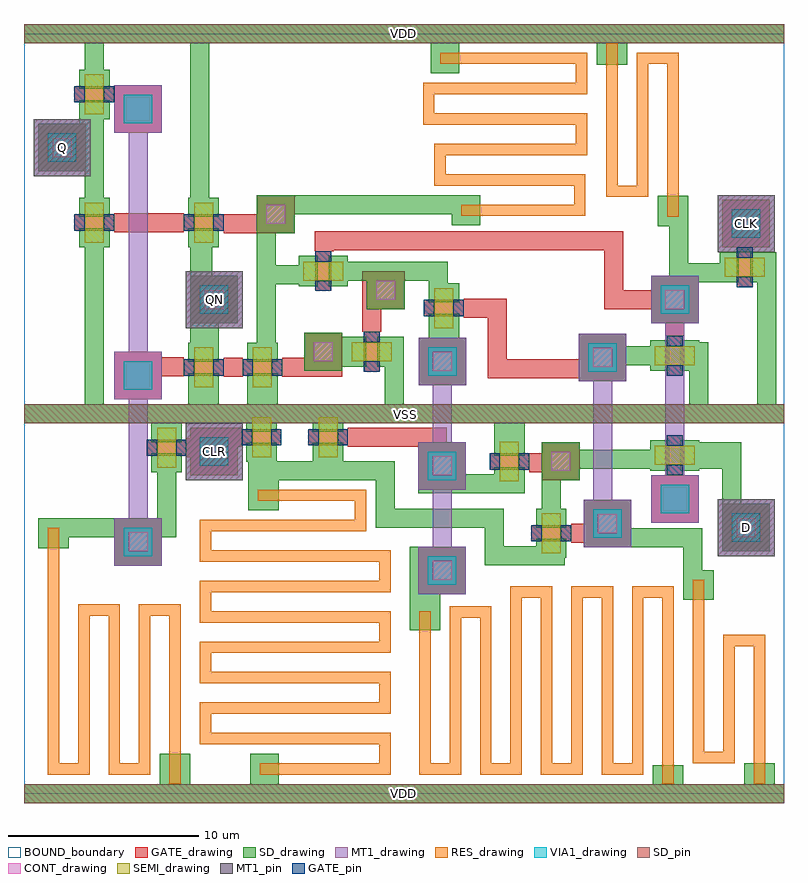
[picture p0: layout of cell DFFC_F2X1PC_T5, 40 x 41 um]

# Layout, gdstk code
from math import pi, radians
import gdstk
lib = gdstk.Library(unit=1e-6, precision=1e-09)
def R(c, l, rs):  # rectangles x0, y0, x1, y1
    for r in rs: c.add(gdstk.rectangle(r[:2], r[2:], *l))
def A(c, l, x, y, w, h, nx, ny, dx, dy):  # array of equal rectangles
    R(c, l, [(x+i*dx, y+j*dy, x+i*dx+w, y+j*dy+h) for i in range(nx) for j in range(ny)])
def P(c, l, *ps):  # polygons
    for p in ps: c.add(gdstk.Polygon(p, *l))
RES_drawing = (1, 0)
SEMI_drawing = (3, 0)
SD_drawing = (10, 0)
SD_pin = (10, 3)
GATE_drawing = (11, 0)
GATE_pin = (11, 3)
MT1_drawing = (20, 0)
MT1_pin = (20, 3)
CONT_drawing = (30, 0)
VIA1_drawing = (41, 0)
BOUND_boundary = (150, 5)

nch_cdns_772544865100 = lib.new_cell('nch_CDNS_772544865100')
R(nch_cdns_772544865100, SEMI_drawing, [(-1.05,-0.5,1.05,0.5)])
R(nch_cdns_772544865100, SD_drawing, [(-1.3,-0.8,-0.3,0.8), (0.3,-0.8,1.3,0.8)])
R(nch_cdns_772544865100, GATE_drawing, [(-0.425,-1.05,0.425,1.05)])
R(nch_cdns_772544865100, GATE_pin, [(-0.425,-1.05,0.425,-0.5), (-0.425,0.5,0.425,1.05)])

sd_gate_cdns_77254486510 = lib.new_cell('SD_GATE_CDNS_772544865100')
R(sd_gate_cdns_77254486510, SD_drawing, [(-1.25,-1.25,1.25,1.25)])
R(sd_gate_cdns_77254486510, GATE_drawing, [(-1.25,-1.25,1.25,1.25)])
R(sd_gate_cdns_77254486510, CONT_drawing, [(-0.5,-0.5,0.5,0.5)])

gate_mt1_cdns_7725448651 = lib.new_cell('GATE_MT1_CDNS_772544865101')
R(gate_mt1_cdns_7725448651, GATE_drawing, [(-1.25,-1.25,1.25,1.25)])
R(gate_mt1_cdns_7725448651, MT1_drawing, [(-1.5,-1.5,1.5,1.5)])
R(gate_mt1_cdns_7725448651, VIA1_drawing, [(-0.75,-0.75,0.75,0.75)])

c_gate_mt1_cdns_7725448651 = lib.new_cell('GATE_MT1_CDNS_772544865102')
R(c_gate_mt1_cdns_7725448651, GATE_drawing, [(-1.25,-1.25,1.25,1.25)])
R(c_gate_mt1_cdns_7725448651, MT1_drawing, [(-1.25,-1.25,1.25,1.25)])
R(c_gate_mt1_cdns_7725448651, VIA1_drawing, [(-0.75,-0.75,0.75,0.75)])

c_sd_gate_cdns_77254486510 = lib.new_cell('SD_GATE_CDNS_772544865103')
R(c_sd_gate_cdns_77254486510, SD_drawing, [(-1,-1,1,1)])
R(c_sd_gate_cdns_77254486510, GATE_drawing, [(-1,-1,1,1)])
R(c_sd_gate_cdns_77254486510, CONT_drawing, [(-0.5,-0.5,0.5,0.5)])

dffc_f2x1pc_t5 = lib.new_cell('DFFC_F2X1PC_T5')
A(dffc_f2x1pc_t5, SD_drawing, 0, -0.5, 40, 1, 1, 3, 0, 20)
R(dffc_f2x1pc_t5, SD_drawing, [(33.1,0,34.7,1.5), (37.9,0,39.5,1.6), (7.15,0.5,8.75,2.1), (11.9,0.5,13.4,2.1), (20.3,8.6,21.9,13), (34.7,10.2,36.3,11.75), (0.75,12.9,2.35,14.5), (27.25,14.75,28.25,17.3), (11.8,14.9,13.4,16.5), (11.8,16.5,13.2,17.45), (27.25,17.1,32.95,18.1), (24.75,18.675,26.35,19.5), (3.2,20.5,4.2,28.75), (8.65,20.5,10.25,21.125), (11.75,20.5,13.35,21.125), (21.3,23.9,22.9,24.35), (33.35,29.85,34.95,31.45), (22.5,29.9,24,31.5), (8.75,31.35,9.75,39.5), (21.4,37.9,22.9,39.5), (3.2,38.1,4.2,39.5), (30.15,38.35,31.75,39.95)])
P(dffc_f2x1pc_t5, SD_drawing, [(37.75,15.25),(37.75,18.5),(35.55,18.5),(35.55,17.1),(36.75,17.1),(36.75,15.25)],
  [(28.45,13.025),(25.25,13.025),(25.25,15),(19.5,15),(19.5,17.5),(11.8,17.5),(11.8,16.5),(18.5,16.5),(18.5,14),(24.25,14),(24.25,12.025),(28.45,12.025)],
  [(4.2,35.5),(2.9,35.5),(2.9,35.25),(3.2,35.25),(3.2,31.35),(4.2,31.35)],
  [(10.25,24.75),(9.9,24.75),(9.9,28.75),(8.75,28.75),(8.75,23.725),(10.25,23.725)],
  [(26.35,16.175),(24.75,16.175),(24.75,16.8),(20.75,16.8),(20.75,15.8),(26.35,15.8)],
  [(36,23.75),(35.55,23.75),(35.55,22.35),(35,22.35),(35,20.25),(36,20.25)])
A(dffc_f2x1pc_t5, SD_pin, 0, -0.5, 40, 1, 1, 3, 0, 20)
R(dffc_f2x1pc_t5, GATE_drawing, [(8.65,17.7,8.75,18.7), (11.25,18.25,11.45,19.25)])
P(dffc_f2x1pc_t5, GATE_drawing, [(22.25,19.25),(17.15,19.25),(17.15,18.25),(21.25,18.25),(21.25,17.25),(22.25,17.25)],
  [(38.475,28.85),(37.475,28.85),(37.475,28.75),(37.55,28.75),(37.55,28.7),(38.3,28.7),(38.3,28.75),(38.475,28.75)],
  [(8.3,22.95),(8.3,21.95),(8.4,21.95),(8.4,22.05),(8.45,22.05),(8.45,22.8),(8.4,22.8),(8.4,22.95)],
  [(33.725,16.65),(34.725,16.65),(34.725,16.75),(34.625,16.75),(34.625,16.8),(33.875,16.8),(33.875,16.75),(33.725,16.75)],
  [(8.65,18.7),(8.65,17.7),(8.55,17.7),(8.55,17.825),(8.5,17.825),(8.5,18.575),(8.55,18.575),(8.55,18.7)],
  [(10.6,22.925),(10.6,21.925),(10.5,21.925),(10.5,22.05),(10.45,22.05),(10.45,22.8),(10.5,22.8),(10.5,22.925)],
  [(8.3,30.55),(8.3,29.55),(8.4,29.55),(8.4,29.675),(8.45,29.675),(8.45,30.425),(8.4,30.425),(8.4,30.55)],
  [(17.15,19.25),(17.15,18.25),(17.05,18.25),(17.05,18.375),(17,18.375),(17,19.125),(17.05,19.125),(17.05,19.25)],
  [(11.35,19.25),(11.35,18.25),(11.45,18.25),(11.45,18.375),(11.5,18.375),(11.5,19.125),(11.45,19.125),(11.45,19.25)],
  [(16.3,28.65),(15.3,28.65),(15.3,28.55),(15.375,28.55),(15.375,28.5),(16.125,28.5),(16.125,28.55),(16.3,28.55)],
  [(11.4,22.925),(11.4,21.925),(11.5,21.925),(11.5,22.05),(11.55,22.05),(11.55,22.8),(11.5,22.8),(11.5,22.925)],
  [(26.7,17.9),(26.7,16.9),(26.6,16.9),(26.6,17.15),(26.55,17.15),(26.55,17.9)],
  [(18.8,24.4),(17.8,24.4),(17.8,24.3),(17.925,24.3),(17.925,24.25),(18.675,24.25),(18.675,24.3),(18.8,24.3)],
  [(23.25,25.05),(23.25,26.05),(23.15,26.05),(23.15,25.925),(23.1,25.925),(23.1,25.175),(23.15,25.175),(23.15,25.05)],
  [(10.6,29.5),(10.6,30.5),(10.5,30.5),(10.5,30.425),(10.45,30.425),(10.45,29.675),(10.5,29.675),(10.5,29.5)],
  [(13.7,22.925),(13.7,21.925),(13.6,21.925),(13.6,22.05),(13.55,22.05),(13.55,22.8),(13.6,22.8),(13.6,22.925)],
  [(4.85,29.55),(4.85,30.55),(4.75,30.55),(4.75,30.425),(4.7,30.425),(4.7,29.675),(4.75,29.675),(4.75,29.55)],
  [(28.9,14.2),(28.9,13.2),(28.8,13.2),(28.8,13.325),(28.75,13.325),(28.75,14.075),(28.8,14.075),(28.8,14.2)],
  [(34.75,24.2),(33.75,24.2),(33.75,24.1),(33.875,24.1),(33.875,24.05),(34.625,24.05),(34.625,24.1),(34.75,24.1)],
  [(4.85,36.275),(4.85,37.275),(4.75,37.275),(4.75,37.175),(4.7,37.175),(4.7,36.425),(4.75,36.425),(4.75,36.275)])
R(dffc_f2x1pc_t5, MT1_drawing, [(36.5,12.5,39.5,15.5), (8.5,16.5,11.5,19.5), (8.5,24.5,11.5,27.5), (36.5,28.5,39.5,31.5), (0.5,32.5,3.5,35.5)])
R(dffc_f2x1pc_t5, MT1_pin, [(36.5,12.5,39.5,15.5), (8.5,16.5,11.5,19.5), (8.5,24.5,11.5,27.5), (36.5,28.5,39.5,31.5), (0.5,32.5,3.5,35.5)])
R(dffc_f2x1pc_t5, BOUND_boundary, [(0,0,40,40)])
dffc_f2x1pc_t5.add(gdstk.FlexPath([(6.75,14),(7.5,14)], 1, ends="extended", simple_path=True, layer=10, datatype=0))  # SD_drawing
dffc_f2x1pc_t5.add(gdstk.FlexPath([(7.5,14),(7.5,16.9)], 1, ends=(0.5, 0), simple_path=True, layer=10, datatype=0))  # SD_drawing
dffc_f2x1pc_t5.add(gdstk.FlexPath([(36.625,27.4),(34.45,27.4)], 1, ends=(0, 0.5), simple_path=True, layer=10, datatype=0))  # SD_drawing
dffc_f2x1pc_t5.add(gdstk.FlexPath([(35.2,13.45),(35.2,11.65)], 1, ends=(0.5, 0), simple_path=True, layer=10, datatype=0))  # SD_drawing
dffc_f2x1pc_t5.add(gdstk.FlexPath([(4.75,14),(1.35,14)], 1, ends="flush", simple_path=True, layer=10, datatype=0))  # SD_drawing
dffc_f2x1pc_t5.add(gdstk.FlexPath([(13.45,27.3),(15.4,27.3)], 1, ends=(0.5, 0), simple_path=True, layer=10, datatype=0))  # SD_drawing
dffc_f2x1pc_t5.add(gdstk.FlexPath([(34.45,27.4),(34.45,26)], 1, ends=(0.5, 0), simple_path=True, layer=10, datatype=0))  # SD_drawing
dffc_f2x1pc_t5.add(gdstk.FlexPath([(16.75,23.25),(17,23.25)], 1.6, ends="flush", simple_path=True, layer=10, datatype=0))  # SD_drawing
dffc_f2x1pc_t5.add(gdstk.FlexPath([(12.75,23.725),(12.75,31)], 1, ends=(0, 0.5), simple_path=True, layer=10, datatype=0))  # SD_drawing
dffc_f2x1pc_t5.add(gdstk.FlexPath([(22.5,31),(12.75,31)], 1, ends=(0, 0.5), simple_path=True, layer=10, datatype=0))  # SD_drawing
dffc_f2x1pc_t5.add(gdstk.FlexPath([(39.1,28.5),(39.1,20.5)], 1, ends="flush", simple_path=True, layer=10, datatype=0))  # SD_drawing
dffc_f2x1pc_t5.add(gdstk.FlexPath([(32.95,23.05),(31.7,23.05)], 1, ends="flush", simple_path=True, layer=10, datatype=0))  # SD_drawing
dffc_f2x1pc_t5.add(gdstk.FlexPath([(21.8,26.575),(21.8,27.5),(17.05,27.5)], 1, ends="flush", simple_path=True, layer=10, datatype=0))  # SD_drawing
dffc_f2x1pc_t5.add(gdstk.FlexPath([(34.45,30.1),(34.45,27.4)], 1, ends=(0, 0.5), simple_path=True, layer=10, datatype=0))  # SD_drawing
dffc_f2x1pc_t5.add(gdstk.FlexPath([(19.475,24.05),(19.475,20.5)], 1, ends="flush", simple_path=True, layer=10, datatype=0))  # SD_drawing
dffc_f2x1pc_t5.add(gdstk.FlexPath([(31.95,13.45),(35.2,13.45)], 1, ends=(0, 0.5), simple_path=True, layer=10, datatype=0))  # SD_drawing
dffc_f2x1pc_t5.add(gdstk.FlexPath([(35.5,11.25),(35.5,1.9),(37.1,1.9),(37.1,8.05),(38.7,8.05),(38.7,0.5)], 0.6, ends="flush", simple_path=True, layer=1, datatype=0))  # RES_drawing
dffc_f2x1pc_t5.add(gdstk.FlexPath([(1.55,14),(1.55,1.3),(3.15,1.3),(3.15,9.65),(4.75,9.65),(4.75,1.3),(6.35,1.3),(6.35,9.65),(7.95,9.65),(7.95,0.5)], 0.6, ends="flush", simple_path=True, layer=1, datatype=0))  # RES_drawing
dffc_f2x1pc_t5.add(gdstk.FlexPath([(12.3,15.7),(17.7,15.7),(17.7,14.1),(9.55,14.1),(9.55,12.5),(19,12.5),(19,10.9),(9.55,10.9),(9.55,9.3),(19,9.3),(19,7.7),(9.55,7.7),(9.55,6.1),(19,6.1),(19,4.5),(9.55,4.5),(9.55,2.9),(19,2.9),(19,1.3),(12.4,1.3)], 0.6, ends="flush", simple_path=True, layer=1, datatype=0))  # RES_drawing
dffc_f2x1pc_t5.add(gdstk.FlexPath([(22.9,38.7),(29.35,38.7),(29.35,37.1),(21.3,37.1),(21.3,35.5),(29.35,35.5),(29.35,33.9),(21.9,33.9),(21.9,32.3),(29.25,32.3),(29.25,30.7),(24,30.7)], 0.6, ends=(1, 1), simple_path=True, layer=1, datatype=0))  # RES_drawing
dffc_f2x1pc_t5.add(gdstk.FlexPath([(34.15,30.35),(34.15,38.7),(32.55,38.7),(32.55,31.7),(30.95,31.7),(30.95,39.5)], 0.6, ends="flush", simple_path=True, layer=1, datatype=0))  # RES_drawing
dffc_f2x1pc_t5.add(gdstk.FlexPath([(21.1,9.6),(21.1,1.3),(22.7,1.3),(22.7,9.55),(24.3,9.55),(24.3,1.3),(25.9,1.3),(25.9,10.6),(27.5,10.6),(27.5,1.3),(29.1,1.3),(29.1,10.6),(30.7,10.6),(30.7,1.3),(32.3,1.3),(32.3,10.6),(33.9,10.6),(33.9,1.5)], 0.6, ends=(0, 1), simple_path=True, layer=1, datatype=0))  # RES_drawing
dffc_f2x1pc_t5.add(gdstk.FlexPath([(16.75,22.425),(13.7,22.425)], 1, ends="flush", simple_path=True, layer=11, datatype=0))  # GATE_drawing
dffc_f2x1pc_t5.add(gdstk.FlexPath([(18.3,24.4),(18.3,27.5)], 1, ends="flush", simple_path=True, layer=11, datatype=0))  # GATE_drawing
dffc_f2x1pc_t5.add(gdstk.FlexPath([(23.25,25.55),(24.9,25.55)], 1, ends=(0, 0.5), simple_path=True, layer=11, datatype=0))  # GATE_drawing
dffc_f2x1pc_t5.add(gdstk.FlexPath([(24.9,22.35),(29.2,22.35)], 1, ends=(0.5, 0), simple_path=True, layer=11, datatype=0))  # GATE_drawing
dffc_f2x1pc_t5.add(gdstk.FlexPath([(24.9,25.55),(24.9,22.35)], 1, ends="extended", simple_path=True, layer=11, datatype=0))  # GATE_drawing
dffc_f2x1pc_t5.add(gdstk.FlexPath([(15.8,29.1),(31.05,29.1),(31.05,26),(34.25,26),(34.25,24.2)], 1, ends=(0.5, 0), simple_path=True, layer=11, datatype=0))  # GATE_drawing
dffc_f2x1pc_t5.add(gdstk.FlexPath([(34.25,16.75),(34.25,15.4)], 1, ends="flush", simple_path=True, layer=11, datatype=0))  # GATE_drawing
dffc_f2x1pc_t5.add(gdstk.FlexPath([(10.6,30),(12.25,30)], 1, ends="flush", simple_path=True, layer=11, datatype=0))  # GATE_drawing
dffc_f2x1pc_t5.add(gdstk.FlexPath([(8.3,30.05),(4.85,30.05)], 1, ends="flush", simple_path=True, layer=11, datatype=0))  # GATE_drawing
dffc_f2x1pc_t5.add(gdstk.FlexPath([(7.25,22.45),(8.3,22.45)], 1, ends="flush", simple_path=True, layer=11, datatype=0))  # GATE_drawing
dffc_f2x1pc_t5.add(gdstk.FlexPath([(26.7,17.4),(27.25,17.4)], 1, ends="flush", simple_path=True, layer=11, datatype=0))  # GATE_drawing
dffc_f2x1pc_t5.add(gdstk.FlexPath([(10.6,22.425),(11.4,22.425)], 1, ends="flush", simple_path=True, layer=11, datatype=0))  # GATE_drawing
dffc_f2x1pc_t5.add(gdstk.FlexPath([(28.9,13.7),(29.5,13.7)], 1, ends="flush", simple_path=True, layer=11, datatype=0))  # GATE_drawing
dffc_f2x1pc_t5.add(gdstk.FlexPath([(15.8,28.55),(15.8,29.1)], 1, ends=(0, 0.5), simple_path=True, layer=11, datatype=0))  # GATE_drawing
dffc_f2x1pc_t5.add(gdstk.FlexPath([(34.25,26),(34.25,15.35)], 1, ends="flush", simple_path=True, layer=20, datatype=0))  # MT1_drawing
dffc_f2x1pc_t5.add(gdstk.FlexPath([(30.45,22.95),(30.45,14)], 1, ends="flush", simple_path=True, layer=20, datatype=0))  # MT1_drawing
dffc_f2x1pc_t5.add(gdstk.FlexPath([(22,11.75),(22,11)], 1, ends="flush", simple_path=True, layer=20, datatype=0))  # MT1_drawing
dffc_f2x1pc_t5.add(gdstk.FlexPath([(22,17.25),(22,11.75)], 1, ends="flush", simple_path=True, layer=20, datatype=0))  # MT1_drawing
dffc_f2x1pc_t5.add(gdstk.FlexPath([(22,22.75),(22,17.25)], 1, ends="flush", simple_path=True, layer=20, datatype=0))  # MT1_drawing
dffc_f2x1pc_t5.add(gdstk.FlexPath([(6,36),(6,14.3)], 1, ends="flush", simple_path=True, layer=20, datatype=0))  # MT1_drawing
dffc_f2x1pc_t5.add(gdstk.Reference(nch_cdns_772544865100, (22.1,25.55), rotation=3*pi/2, x_reflection=True))
dffc_f2x1pc_t5.add(gdstk.Reference(nch_cdns_772544865100, (3.7,36.8), rotation=pi/2))
dffc_f2x1pc_t5.add(gdstk.Reference(nch_cdns_772544865100, (7.5,18.2), rotation=3*pi/2))
dffc_f2x1pc_t5.add(gdstk.Reference(nch_cdns_772544865100, (22.1,25.55), rotation=3*pi/2, x_reflection=True))
dffc_f2x1pc_t5.add(gdstk.Reference(nch_cdns_772544865100, (7.5,18.2), rotation=3*pi/2))
dffc_f2x1pc_t5.add(gdstk.Reference(nch_cdns_772544865100, (22.1,25.55), rotation=3*pi/2, x_reflection=True))
dffc_f2x1pc_t5.add(gdstk.Reference(nch_cdns_772544865100, (7.5,18.2), rotation=3*pi/2))
dffc_f2x1pc_t5.add(gdstk.Reference(nch_cdns_772544865100, (15.75,27.5), rotation=pi))
dffc_f2x1pc_t5.add(gdstk.Reference(nch_cdns_772544865100, (22.1,25.55), rotation=3*pi/2, x_reflection=True))
dffc_f2x1pc_t5.add(gdstk.Reference(nch_cdns_772544865100, (27.75,13.7), rotation=pi/2))
dffc_f2x1pc_t5.add(gdstk.Reference(nch_cdns_772544865100, (34.25,23.05), rotation=pi))
dffc_f2x1pc_t5.add(gdstk.Reference(nch_cdns_772544865100, (37.925,27.7), rotation=pi, x_reflection=True))
dffc_f2x1pc_t5.add(gdstk.Reference(nch_cdns_772544865100, (3.7,30.05), rotation=pi/2))
dffc_f2x1pc_t5.add(gdstk.Reference(nch_cdns_772544865100, (7.5,18.2), rotation=3*pi/2))
dffc_f2x1pc_t5.add(gdstk.Reference(nch_cdns_772544865100, (25.55,17.475), rotation=3*pi/2))
dffc_f2x1pc_t5.add(gdstk.Reference(nch_cdns_772544865100, (16,18.75), rotation=3*pi/2))
dffc_f2x1pc_t5.add(gdstk.Reference(nch_cdns_772544865100, (9.45,30.05), rotation=pi/2))
dffc_f2x1pc_t5.add(gdstk.Reference(nch_cdns_772544865100, (7.5,18.2), rotation=3*pi/2))
dffc_f2x1pc_t5.add(gdstk.Reference(nch_cdns_772544865100, (34.25,17.8)))
dffc_f2x1pc_t5.add(gdstk.Reference(nch_cdns_772544865100, (12.55,22.425), rotation=pi/2))
dffc_f2x1pc_t5.add(gdstk.Reference(nch_cdns_772544865100, (12.5,18.75), rotation=3*pi/2, x_reflection=True))
dffc_f2x1pc_t5.add(gdstk.Reference(nch_cdns_772544865100, (22.1,25.55), rotation=3*pi/2, x_reflection=True))
dffc_f2x1pc_t5.add(gdstk.Reference(nch_cdns_772544865100, (9.45,22.425), rotation=pi/2))
dffc_f2x1pc_t5.add(gdstk.Reference(nch_cdns_772544865100, (18.3,23.25), rotation=pi))
dffc_f2x1pc_t5.add(gdstk.Reference(sd_gate_cdns_77254486510, (30.45,22.95)))
dffc_f2x1pc_t5.add(gdstk.Reference(sd_gate_cdns_77254486510, (22.025,22.75)))
dffc_f2x1pc_t5.add(gdstk.Reference(sd_gate_cdns_77254486510, (2,34)))
dffc_f2x1pc_t5.add(gdstk.Reference(sd_gate_cdns_77254486510, (38,14)))
dffc_f2x1pc_t5.add(gdstk.Reference(sd_gate_cdns_77254486510, (30.7,14.2)))
dffc_f2x1pc_t5.add(gdstk.Reference(sd_gate_cdns_77254486510, (22,11.75)))
dffc_f2x1pc_t5.add(gdstk.Reference(sd_gate_cdns_77254486510, (22,17.25)))
dffc_f2x1pc_t5.add(gdstk.Reference(sd_gate_cdns_77254486510, (6,13.25)))
dffc_f2x1pc_t5.add(gdstk.Reference(sd_gate_cdns_77254486510, (34.25,26)))
dffc_f2x1pc_t5.add(gdstk.Reference(sd_gate_cdns_77254486510, (30.7,14.2)))
dffc_f2x1pc_t5.add(gdstk.Reference(sd_gate_cdns_77254486510, (30.45,22.95)))
dffc_f2x1pc_t5.add(gdstk.Reference(sd_gate_cdns_77254486510, (22.025,22.75)))
dffc_f2x1pc_t5.add(gdstk.Reference(sd_gate_cdns_77254486510, (22,11.75)))
dffc_f2x1pc_t5.add(gdstk.Reference(sd_gate_cdns_77254486510, (22,17.25)))
dffc_f2x1pc_t5.add(gdstk.Reference(sd_gate_cdns_77254486510, (6,13.25)))
dffc_f2x1pc_t5.add(gdstk.Reference(sd_gate_cdns_77254486510, (34.25,26)))
dffc_f2x1pc_t5.add(gdstk.Reference(sd_gate_cdns_77254486510, (30.7,14.2)))
dffc_f2x1pc_t5.add(gdstk.Reference(sd_gate_cdns_77254486510, (30.45,22.95)))
dffc_f2x1pc_t5.add(gdstk.Reference(sd_gate_cdns_77254486510, (22.025,22.75)))
dffc_f2x1pc_t5.add(gdstk.Reference(sd_gate_cdns_77254486510, (22,11.75)))
dffc_f2x1pc_t5.add(gdstk.Reference(sd_gate_cdns_77254486510, (22,17.25)))
dffc_f2x1pc_t5.add(gdstk.Reference(sd_gate_cdns_77254486510, (6,13.25)))
dffc_f2x1pc_t5.add(gdstk.Reference(sd_gate_cdns_77254486510, (34.25,26)))
dffc_f2x1pc_t5.add(gdstk.Reference(sd_gate_cdns_77254486510, (30.7,14.2)))
dffc_f2x1pc_t5.add(gdstk.Reference(sd_gate_cdns_77254486510, (30.45,22.95)))
dffc_f2x1pc_t5.add(gdstk.Reference(sd_gate_cdns_77254486510, (22.025,22.75)))
dffc_f2x1pc_t5.add(gdstk.Reference(sd_gate_cdns_77254486510, (22,11.75)))
dffc_f2x1pc_t5.add(gdstk.Reference(sd_gate_cdns_77254486510, (22,17.25)))
dffc_f2x1pc_t5.add(gdstk.Reference(sd_gate_cdns_77254486510, (10,26)))
dffc_f2x1pc_t5.add(gdstk.Reference(sd_gate_cdns_77254486510, (6,13.25)))
dffc_f2x1pc_t5.add(gdstk.Reference(sd_gate_cdns_77254486510, (22.025,22.75)))
dffc_f2x1pc_t5.add(gdstk.Reference(sd_gate_cdns_77254486510, (34.25,26)))
dffc_f2x1pc_t5.add(gdstk.Reference(sd_gate_cdns_77254486510, (22,11.75)))
dffc_f2x1pc_t5.add(gdstk.Reference(sd_gate_cdns_77254486510, (30.45,22.95)))
dffc_f2x1pc_t5.add(gdstk.Reference(sd_gate_cdns_77254486510, (30.7,14.2)))
dffc_f2x1pc_t5.add(gdstk.Reference(sd_gate_cdns_77254486510, (22,17.25)))
dffc_f2x1pc_t5.add(gdstk.Reference(sd_gate_cdns_77254486510, (6,13.25)))
dffc_f2x1pc_t5.add(gdstk.Reference(gate_mt1_cdns_7725448651, (2,34)))
dffc_f2x1pc_t5.add(gdstk.Reference(gate_mt1_cdns_7725448651, (10,18)))
dffc_f2x1pc_t5.add(gdstk.Reference(gate_mt1_cdns_7725448651, (38,14)))
dffc_f2x1pc_t5.add(gdstk.Reference(gate_mt1_cdns_7725448651, (10,26)))
dffc_f2x1pc_t5.add(gdstk.Reference(gate_mt1_cdns_7725448651, (38,30)))
dffc_f2x1pc_t5.add(gdstk.Reference(c_gate_mt1_cdns_7725448651, (30.45,22.95)))
dffc_f2x1pc_t5.add(gdstk.Reference(c_gate_mt1_cdns_7725448651, (22.025,22.75)))
dffc_f2x1pc_t5.add(gdstk.Reference(c_gate_mt1_cdns_7725448651, (6,22)))
dffc_f2x1pc_t5.add(gdstk.Reference(c_gate_mt1_cdns_7725448651, (34.25,15.5)))
dffc_f2x1pc_t5.add(gdstk.Reference(c_gate_mt1_cdns_7725448651, (30.7,14.2)))
dffc_f2x1pc_t5.add(gdstk.Reference(c_gate_mt1_cdns_7725448651, (22,11.75)))
dffc_f2x1pc_t5.add(gdstk.Reference(c_gate_mt1_cdns_7725448651, (22,17.25)))
dffc_f2x1pc_t5.add(gdstk.Reference(c_gate_mt1_cdns_7725448651, (6,13.25)))
dffc_f2x1pc_t5.add(gdstk.Reference(c_gate_mt1_cdns_7725448651, (34.25,15.5)))
dffc_f2x1pc_t5.add(gdstk.Reference(c_gate_mt1_cdns_7725448651, (6,22)))
dffc_f2x1pc_t5.add(gdstk.Reference(c_gate_mt1_cdns_7725448651, (34.25,26)))
dffc_f2x1pc_t5.add(gdstk.Reference(c_gate_mt1_cdns_7725448651, (30.7,14.2)))
dffc_f2x1pc_t5.add(gdstk.Reference(c_gate_mt1_cdns_7725448651, (30.45,22.95)))
dffc_f2x1pc_t5.add(gdstk.Reference(c_gate_mt1_cdns_7725448651, (22.025,22.75)))
dffc_f2x1pc_t5.add(gdstk.Reference(c_gate_mt1_cdns_7725448651, (22,11.75)))
dffc_f2x1pc_t5.add(gdstk.Reference(c_gate_mt1_cdns_7725448651, (22,17.25)))
dffc_f2x1pc_t5.add(gdstk.Reference(c_gate_mt1_cdns_7725448651, (6,13.25)))
dffc_f2x1pc_t5.add(gdstk.Reference(c_gate_mt1_cdns_7725448651, (6,36.025)))
dffc_f2x1pc_t5.add(gdstk.Reference(c_gate_mt1_cdns_7725448651, (6,36.025)))
dffc_f2x1pc_t5.add(gdstk.Reference(c_gate_mt1_cdns_7725448651, (34.25,15.5)))
dffc_f2x1pc_t5.add(gdstk.Reference(c_gate_mt1_cdns_7725448651, (6,22)))
dffc_f2x1pc_t5.add(gdstk.Reference(c_gate_mt1_cdns_7725448651, (34.25,26)))
dffc_f2x1pc_t5.add(gdstk.Reference(c_gate_mt1_cdns_7725448651, (30.7,14.2)))
dffc_f2x1pc_t5.add(gdstk.Reference(c_gate_mt1_cdns_7725448651, (30.45,22.95)))
dffc_f2x1pc_t5.add(gdstk.Reference(c_gate_mt1_cdns_7725448651, (22.025,22.75)))
dffc_f2x1pc_t5.add(gdstk.Reference(c_gate_mt1_cdns_7725448651, (22,11.75)))
dffc_f2x1pc_t5.add(gdstk.Reference(c_gate_mt1_cdns_7725448651, (22,17.25)))
dffc_f2x1pc_t5.add(gdstk.Reference(c_gate_mt1_cdns_7725448651, (6,13.25)))
dffc_f2x1pc_t5.add(gdstk.Reference(c_gate_mt1_cdns_7725448651, (6,36.025)))
dffc_f2x1pc_t5.add(gdstk.Reference(c_gate_mt1_cdns_7725448651, (6,36.025)))
dffc_f2x1pc_t5.add(gdstk.Reference(c_gate_mt1_cdns_7725448651, (34.25,15.5)))
dffc_f2x1pc_t5.add(gdstk.Reference(c_gate_mt1_cdns_7725448651, (6,22)))
dffc_f2x1pc_t5.add(gdstk.Reference(c_gate_mt1_cdns_7725448651, (34.25,26)))
dffc_f2x1pc_t5.add(gdstk.Reference(c_gate_mt1_cdns_7725448651, (30.7,14.2)))
dffc_f2x1pc_t5.add(gdstk.Reference(c_gate_mt1_cdns_7725448651, (30.45,22.95)))
dffc_f2x1pc_t5.add(gdstk.Reference(c_gate_mt1_cdns_7725448651, (22.025,22.75)))
dffc_f2x1pc_t5.add(gdstk.Reference(c_gate_mt1_cdns_7725448651, (22,11.75)))
dffc_f2x1pc_t5.add(gdstk.Reference(c_gate_mt1_cdns_7725448651, (22,17.25)))
dffc_f2x1pc_t5.add(gdstk.Reference(c_gate_mt1_cdns_7725448651, (6,13.25)))
dffc_f2x1pc_t5.add(gdstk.Reference(c_gate_mt1_cdns_7725448651, (6,36.025)))
dffc_f2x1pc_t5.add(gdstk.Reference(c_gate_mt1_cdns_7725448651, (6,13.25)))
dffc_f2x1pc_t5.add(gdstk.Reference(c_gate_mt1_cdns_7725448651, (6,22)))
dffc_f2x1pc_t5.add(gdstk.Reference(c_gate_mt1_cdns_7725448651, (34.25,15.5)))
dffc_f2x1pc_t5.add(gdstk.Reference(c_gate_mt1_cdns_7725448651, (22,11.75)))
dffc_f2x1pc_t5.add(gdstk.Reference(c_gate_mt1_cdns_7725448651, (30.45,22.95)))
dffc_f2x1pc_t5.add(gdstk.Reference(c_gate_mt1_cdns_7725448651, (22,17.25)))
dffc_f2x1pc_t5.add(gdstk.Reference(c_gate_mt1_cdns_7725448651, (22.025,22.75)))
dffc_f2x1pc_t5.add(gdstk.Reference(c_gate_mt1_cdns_7725448651, (30.7,14.2)))
dffc_f2x1pc_t5.add(gdstk.Reference(c_gate_mt1_cdns_7725448651, (34.25,26)))
dffc_f2x1pc_t5.add(gdstk.Reference(c_sd_gate_cdns_77254486510, (19.05,26.5)))
dffc_f2x1pc_t5.add(gdstk.Reference(c_sd_gate_cdns_77254486510, (15.75,23.25)))
dffc_f2x1pc_t5.add(gdstk.Reference(c_sd_gate_cdns_77254486510, (13.25,30.5)))
dffc_f2x1pc_t5.add(gdstk.Reference(c_sd_gate_cdns_77254486510, (28.25,17.5)))
dffc_f2x1pc_t5.add(gdstk.Reference(c_sd_gate_cdns_77254486510, (28.25,17.5)))
dffc_f2x1pc_t5.add(gdstk.Reference(c_sd_gate_cdns_77254486510, (19.05,26.5)))
dffc_f2x1pc_t5.add(gdstk.Reference(c_sd_gate_cdns_77254486510, (15.75,23.25)))
dffc_f2x1pc_t5.add(gdstk.Reference(c_sd_gate_cdns_77254486510, (13.25,30.5)))
dffc_f2x1pc_t5.add(gdstk.Reference(c_sd_gate_cdns_77254486510, (28.25,17.5)))
dffc_f2x1pc_t5.add(gdstk.Reference(c_sd_gate_cdns_77254486510, (19.05,26.5)))
dffc_f2x1pc_t5.add(gdstk.Reference(c_sd_gate_cdns_77254486510, (15.75,23.25)))
dffc_f2x1pc_t5.add(gdstk.Reference(c_sd_gate_cdns_77254486510, (13.25,30.5)))
dffc_f2x1pc_t5.add(gdstk.Reference(c_sd_gate_cdns_77254486510, (28.25,17.5)))
dffc_f2x1pc_t5.add(gdstk.Reference(c_sd_gate_cdns_77254486510, (19.05,26.5)))
dffc_f2x1pc_t5.add(gdstk.Reference(c_sd_gate_cdns_77254486510, (15.75,23.25)))
dffc_f2x1pc_t5.add(gdstk.Reference(c_sd_gate_cdns_77254486510, (13.25,30.5)))
dffc_f2x1pc_t5.add(gdstk.Reference(c_sd_gate_cdns_77254486510, (13.25,30.5)))
dffc_f2x1pc_t5.add(gdstk.Reference(c_sd_gate_cdns_77254486510, (19.05,26.5)))
dffc_f2x1pc_t5.add(gdstk.Reference(c_sd_gate_cdns_77254486510, (15.75,23.25)))
dffc_f2x1pc_t5.add(gdstk.Reference(c_sd_gate_cdns_77254486510, (28.25,17.5)))
dffc_f2x1pc_t5.add(gdstk.Label('VDD', (19.95,0), layer=10, texttype=3))
dffc_f2x1pc_t5.add(gdstk.Label('VSS', (20.1,19.95), layer=10, texttype=3))
dffc_f2x1pc_t5.add(gdstk.Label('VDD', (19.95,40), layer=10, texttype=3))
dffc_f2x1pc_t5.add(gdstk.Label('QN', (10,26), layer=20, texttype=3))
dffc_f2x1pc_t5.add(gdstk.Label('Q', (2,34), layer=20, texttype=3))
dffc_f2x1pc_t5.add(gdstk.Label('D', (38,14), layer=20, texttype=3))
dffc_f2x1pc_t5.add(gdstk.Label('CLR', (10,18), layer=20, texttype=3))
dffc_f2x1pc_t5.add(gdstk.Label('CLK', (38,30), layer=20, texttype=3))

lib.write_gds('DFFC_F2X1PC_T5.gds')
